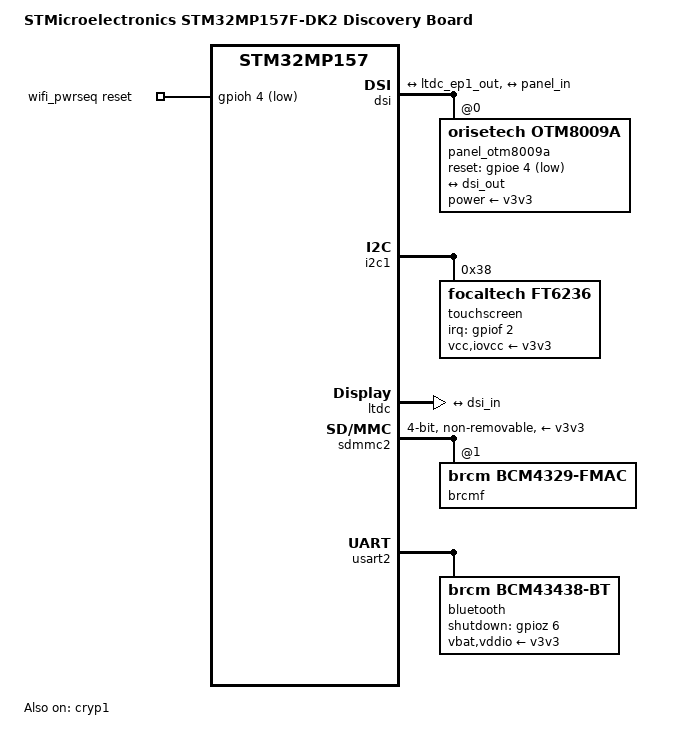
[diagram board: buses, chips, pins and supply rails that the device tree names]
// SPDX-License-Identifier: (GPL-2.0+ OR BSD-3-Clause)
/*
 * Copyright (C) STMicroelectronics 2019 - All Rights Reserved
 * Author: Alexandre Torgue <alexandre.torgue@st.com> for STMicroelectronics.
 */

/dts-v1/;

#include "stm32mp157.dtsi"
#include "stm32mp15xf.dtsi"
#include "stm32mp15-pinctrl.dtsi"
#include "stm32mp15xxac-pinctrl.dtsi"
#include "stm32mp15xx-dkx.dtsi"
#include <dt-bindings/rtc/rtc-stm32.h>

/ {
	model = "STMicroelectronics STM32MP157F-DK2 Discovery Board";
	compatible = "st,stm32mp157f-dk2", "st,stm32mp157";

	aliases {
		serial3 = &usart2;
	};

	chosen {
		#address-cells = <1>;
		#size-cells = <1>;
		ranges;
		stdout-path = "serial0:115200n8";

		framebuffer {
			compatible = "simple-framebuffer";
			clocks = <&rcc LTDC_PX>;
			status = "disabled";
		};
	};

	wifi_pwrseq: wifi-pwrseq {
		compatible = "mmc-pwrseq-simple";
		reset-gpios = <&gpioh 4 GPIO_ACTIVE_LOW>;
	};
};

&cryp1 {
	status = "okay";
};

&dsi {
	status = "okay";

	ports {
		port@0 {
			reg = <0>;
			dsi_in: endpoint {
				remote-endpoint = <&ltdc_ep1_out>;
			};
		};

		port@1 {
			reg = <1>;
			dsi_out: endpoint {
				remote-endpoint = <&panel_in>;
			};
		};
	};

	panel_otm8009a: panel-otm8009a@0 {
		compatible = "orisetech,otm8009a";
		reg = <0>;
		reset-gpios = <&gpioe 4 GPIO_ACTIVE_LOW>;
		power-supply = <&v3v3>;
		status = "okay";

		port {
			panel_in: endpoint {
				remote-endpoint = <&dsi_out>;
			};
		};
	};
};

&i2c1 {
	touchscreen@38 {
		compatible = "focaltech,ft6236";
		reg = <0x38>;
		interrupts = <2 2>;
		interrupt-parent = <&gpiof>;
		interrupt-controller;
		touchscreen-size-x = <480>;
		touchscreen-size-y = <800>;
		panel = <&panel_otm8009a>;
		vcc-supply = <&v3v3>;
		iovcc-supply = <&v3v3>;
		status = "okay";
	};
};

&ltdc {
	status = "okay";

	port {
		ltdc_ep1_out: endpoint@1 {
			reg = <1>;
			remote-endpoint = <&dsi_in>;
		};
	};
};

&rtc {
	st,lsco = <RTC_OUT2_RMP>;
	pinctrl-0 = <&rtc_out2_rmp_pins_a>;
	pinctrl-names = "default";
};

/* Wifi */
&sdmmc2 {
	pinctrl-names = "default", "opendrain", "sleep";
	pinctrl-0 = <&sdmmc2_b4_pins_a>;
	pinctrl-1 = <&sdmmc2_b4_od_pins_a>;
	pinctrl-2 = <&sdmmc2_b4_sleep_pins_a>;
	non-removable;
	st,neg-edge;
	bus-width = <4>;
	vmmc-supply = <&v3v3>;
	mmc-pwrseq = <&wifi_pwrseq>;
	#address-cells = <1>;
	#size-cells = <0>;
	status = "okay";

	brcmf: bcrmf@1 {
		reg = <1>;
		compatible = "brcm,bcm4329-fmac";
	};
};

/* Bluetooth */
&usart2 {
	pinctrl-names = "default", "sleep", "idle";
	pinctrl-0 = <&usart2_pins_c>;
	pinctrl-1 = <&usart2_sleep_pins_c>;
	pinctrl-2 = <&usart2_idle_pins_c>;
	uart-has-rtscts;
	status = "okay";

	bluetooth {
		shutdown-gpios = <&gpioz 6 GPIO_ACTIVE_HIGH>;
		compatible = "brcm,bcm43438-bt";
		max-speed = <3000000>;
		vbat-supply = <&v3v3>;
		vddio-supply = <&v3v3>;
	};
};
